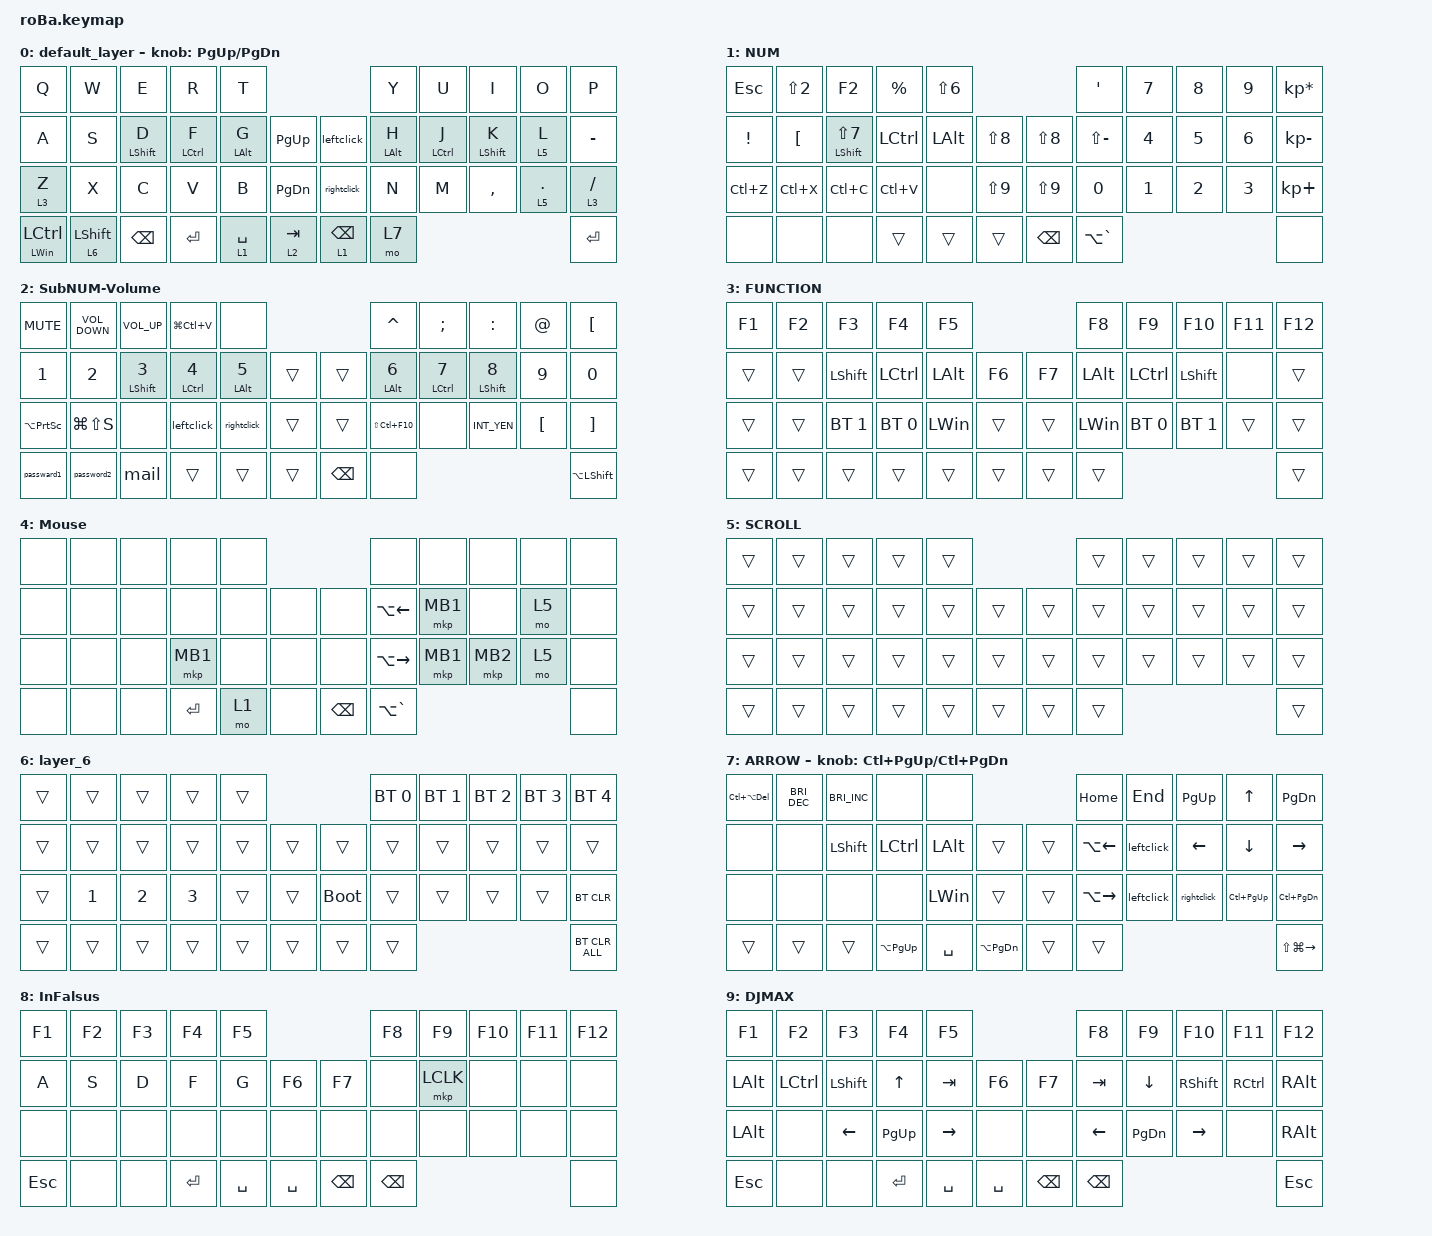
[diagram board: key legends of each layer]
#include <behaviors.dtsi>
#include <dt-bindings/zmk/bt.h>
#include <dt-bindings/zmk/keys.h>
#include <dt-bindings/zmk/pointing.h>

#define MOUSE 4
#define SCROLL 5
#define NUM 6

&mt {
    flavor = "tap-preferred";
    quick-tap-ms = <200>;
    tapping-term-ms = <300>;
    hold-while-undecided-linger;
    require-prior-idle-ms = <100>;
};

&lt {
    quick-tap-ms = <200>;
    flavor = "hold-preferred";
    tapping-term-ms = <200>;
};

/ {
    combos {
        compatible = "zmk,combos";

        Layer0 {
            bindings = <&to 0>;
            key-positions = <28 27>;
        };

        InFalsus {
            bindings = <&to 8>;
            key-positions = <15 16>;
            layers = <0>;
        };

        Leftclick {
            bindings = <&mkp MB1>;
            key-positions = <31 32>;
        };

        DJMAX {
            bindings = <&to 9>;
            key-positions = <15 16>;
            layers = <8>;
        };
    };

    macros {
        to_layer_0: to_layer_0 {
            compatible = "zmk,behavior-macro-one-param";
            #binding-cells = <1>;
            bindings = <&to 0 &macro_param_1to1 &kp MACRO_PLACEHOLDER>;
            label = "TO_LAYER_0";
        };

        passward1: passward1 {
            compatible = "zmk,behavior-macro";
            #binding-cells = <0>;
            bindings = <&kp T &kp H &kp E &kp LS(V) &kp O &kp N1 &kp C &kp E &kp NUMBER_1 &kp N3>;
            label = "PASSWARD1";
        };

        password2: password2 {
            compatible = "zmk,behavior-macro";
            #binding-cells = <0>;
            bindings = <&kp LS(G) &kp E &kp M &kp A &kp T &kp R &kp NUMBER_1 &kp A>;
            label = "PASSWORD2";
        };

        mail: mail {
            compatible = "zmk,behavior-macro";
            #binding-cells = <0>;
            bindings = <&kp K &kp A &kp S &kp A &kp I &kp M &kp S &kp N2 &kp N1 &kp LEFT_BRACKET &kp G &kp M &kp A &kp I &kp L &kp PERIOD &kp C &kp O &kp M>;
            label = "MAIL";
        };

        leftclick: leftclick {
            compatible = "zmk,behavior-macro";
            #binding-cells = <0>;
            bindings = <&sl 4 &mkp MB1>;
            label = "LEFTCLICK";
        };

        rightclick: rightclick {
            compatible = "zmk,behavior-macro";
            #binding-cells = <0>;
            bindings = <&sl 4 &mkp MB2>;
            label = "RIGHTCLICK";
        };
    };

    behaviors {
        lt_to_layer_0: lt_to_layer_0 {
            compatible = "zmk,behavior-hold-tap";
            label = "LAYER_TAP_TO_0";
            bindings = <&mo>, <&to_layer_0>;

            #binding-cells = <2>;
            tapping-term-ms = <200>;
        };
    };

    keymap {
        compatible = "zmk,keymap";

        default_layer {
            bindings = <
&kp Q                      &kp W         &kp E          &kp R        &kp T                                               &kp Y           &kp U        &kp I        &kp O         &kp P
&kp A                      &kp S         &mt LSHFT D    &mt LCTRL F  &mt LEFT_ALT G  &kp PAGE_UP        &leftclick       &mt LEFT_ALT H  &mt LCTRL J  &mt LSHFT K  &lt 5 L       &kp MINUS
&lt 3 Z                    &kp X         &kp C          &kp V        &kp B           &kp PAGE_DOWN      &rightclick      &kp N           &kp M        &kp COMMA    &lt 5 PERIOD  &lt 3 SLASH
&mt LEFT_WIN LEFT_CONTROL  &lt 6 LSHIFT  &kp BACKSPACE  &kp ENTER    &lt 1 SPACE     &lt 2 TAB          &lt 1 BACKSPACE  &mo 7                                                   &kp ENTER
            >;

            sensor-bindings = <&inc_dec_kp PG_UP PAGE_DOWN>;
        };

        NUM {
            bindings = <
&kp ESC    &kp LS(NUMBER_2)  &kp F2             &kp PERCENT       &kp LS(NUMBER_6)                                 &kp SINGLE_QUOTE  &kp N7  &kp N8  &kp N9  &kp KP_ASTERISK
&kp EXCL   &kp LEFT_BRACKET  &mt LSHIFT LS(N7)  &kp LEFT_CONTROL  &kp LEFT_ALT      &kp LS(N8)      &kp LS(N8)     &kp LS(MINUS)     &kp N4  &kp N5  &kp N6  &kp KP_MINUS
&kp LC(Z)  &kp LC(X)         &kp LC(C)          &kp LC(V)         &none             &kp LS(N9)      &kp LS(N9)     &kp N0            &kp N1  &kp N2  &kp N3  &kp KP_PLUS
&none      &none             &none              &trans            &trans            &trans          &kp BACKSPACE  &kp LA(GRAVE)                             &none
            >;
        };

        SubNUM-Volume {
            bindings = <
&kp C_MUTE           &kp C_VOLUME_DOWN  &kp C_VOL_UP         &kp LG(LC(V))              &none                                       &kp CARET              &kp SEMICOLON        &kp COLON      &kp AT_SIGN       &kp LEFT_BRACKET
&kp N1               &kp NUMBER_2       &mt LSHIFT NUMBER_3  &mt LEFT_CONTROL NUMBER_4  &mt LEFT_ALT N5  &trans      &trans         &mt LEFT_ALT NUMBER_6  &mt LEFT_CONTROL N7  &mt LSHIFT N8  &kp N9            &kp N0
&kp LA(PRINTSCREEN)  &kp LG(LS(S))      &none                &leftclick                 &rightclick      &trans      &trans         &kp LS(LC(F10))        &none                &kp INT_YEN    &kp LEFT_BRACKET  &kp RIGHT_BRACKET
&passward1           &password2         &mail                &trans                     &trans           &trans      &kp BACKSPACE  &none                                                                        &kp LA(LSHIFT)
            >;
        };

        FUNCTION {
            bindings = <
&kp F1  &kp F2  &kp F3        &kp F4            &kp F5                            &kp F8        &kp F9            &kp F10       &kp F11  &kp F12
&trans  &trans  &kp LSHFT     &kp LEFT_CONTROL  &kp LEFT_ALT  &kp F6      &kp F7  &kp LEFT_ALT  &kp LEFT_CONTROL  &kp LSHIFT    &none    &trans
&trans  &trans  &bt BT_SEL 1  &bt BT_SEL 0      &kp LWIN      &trans      &trans  &kp LWIN      &bt BT_SEL 0      &bt BT_SEL 1  &trans   &trans
&trans  &trans  &trans        &trans            &trans        &trans      &trans  &trans                                                 &trans
            >;
        };

        Mouse {
            bindings = <
&none  &none  &none  &none      &none                            &none                &none     &none     &none  &none
&none  &none  &none  &none      &none  &none      &none          &kp LA(LEFT)         &mkp MB1  &none     &mo 5  &none
&none  &none  &none  &mkp MB1   &none  &none      &none          &kp LA(RIGHT_ARROW)  &mkp MB1  &mkp MB2  &mo 5  &none
&none  &none  &none  &kp ENTER  &mo 1  &none      &kp BACKSPACE  &kp LA(GRAVE)                                   &none
            >;
        };

        SCROLL {
            bindings = <
&trans  &trans  &trans  &trans  &trans                      &trans  &trans  &trans  &trans  &trans
&trans  &trans  &trans  &trans  &trans  &trans      &trans  &trans  &trans  &trans  &trans  &trans
&trans  &trans  &trans  &trans  &trans  &trans      &trans  &trans  &trans  &trans  &trans  &trans
&trans  &trans  &trans  &trans  &trans  &trans      &trans  &trans                          &trans
            >;
        };

        layer_6 {
            bindings = <
&trans  &trans        &trans        &trans        &trans                           &bt BT_SEL 0  &bt BT_SEL 1  &bt BT_SEL 2  &bt BT_SEL 3  &bt BT_SEL 4
&trans  &trans        &trans        &trans        &trans  &trans      &trans       &trans        &trans        &trans        &trans        &trans
&trans  &kp NUMBER_1  &kp NUMBER_2  &kp NUMBER_3  &trans  &trans      &bootloader  &trans        &trans        &trans        &trans        &bt BT_CLR
&trans  &trans        &trans        &trans        &trans  &trans      &trans       &trans                                                  &bt BT_CLR_ALL
            >;
        };

        ARROW {
            bindings = <
&kp LC(LA(DEL))  &kp C_BRIGHTNESS_DEC  &kp C_BRIGHTNESS_INC  &none             &none                                        &kp HOME       &kp END     &kp PAGE_UP  &kp UP_ARROW     &kp PAGE_DOWN
&none            &none                 &kp LSHIFT            &kp LEFT_CONTROL  &kp LEFT_ALT  &trans                 &trans  &kp LA(LEFT)   &leftclick  &kp LEFT     &kp DOWN_ARROW   &kp RIGHT
&none            &none                 &none                 &none             &kp LWIN      &trans                 &trans  &kp LA(RIGHT)  &leftclick  &rightclick  &kp LC(PAGE_UP)  &kp LC(PAGE_DOWN)
&trans           &trans                &trans                &kp LA(PAGE_UP)   &kp SPACE     &kp LA(PAGE_DOWN)      &trans  &trans                                                   &kp LS(LG(RIGHT))
            >;

            sensor-bindings = <&inc_dec_kp LC(PAGE_UP) LC(PAGE_DOWN)>;
        };

        InFalsus {
            bindings = <
&kp F1      &kp F2  &kp F3  &kp F4     &kp F5                                   &kp F8         &kp F9     &kp F10  &kp F11  &kp F12
&kp A       &kp S   &kp D   &kp F      &kp G      &kp F6         &kp F7         &none          &mkp LCLK  &none    &none    &none
&none       &none   &none   &none      &none      &none          &none          &none          &none      &none    &none    &none
&kp ESCAPE  &none   &none   &kp ENTER  &kp SPACE  &kp SPACE      &kp BACKSPACE  &kp BACKSPACE                               &none
            >;
        };

        DJMAX {
            bindings = <
&kp F1        &kp F2            &kp F3          &kp F4        &kp F5                                         &kp F8          &kp F9          &kp F10          &kp F11            &kp F12
&kp LEFT_ALT  &kp LEFT_CONTROL  &kp LEFT_SHIFT  &kp UP_ARROW  &kp TAB          &kp F6         &kp F7         &kp TAB         &kp DOWN_ARROW  &kp RIGHT_SHIFT  &kp RIGHT_CONTROL  &kp RIGHT_ALT
&kp LEFT_ALT  &none             &kp LEFT_ARROW  &kp PAGE_UP   &kp RIGHT_ARROW  &none          &none          &kp LEFT_ARROW  &kp PAGE_DOWN   &kp RIGHT_ARROW  &none              &kp RIGHT_ALT
&kp ESCAPE    &none             &none           &kp ENTER     &kp SPACE        &kp SPACE      &kp BACKSPACE  &kp BACKSPACE                                                       &kp ESCAPE
            >;
        };
    };
};
